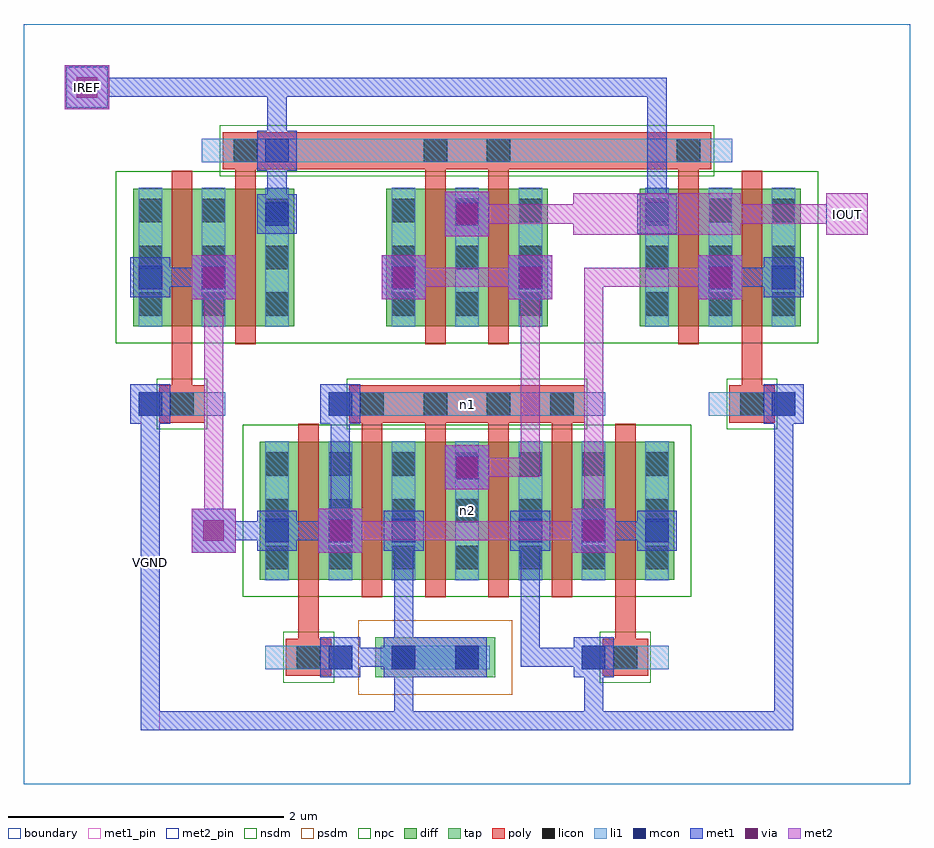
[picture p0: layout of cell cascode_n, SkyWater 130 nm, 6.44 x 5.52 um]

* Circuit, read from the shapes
.subckt cascode_n IOUT IREF VGND n1 n2
XM1 n1 VGND n1 VGND sky130_fd_pr__nfet_01v8 w=1 l=0.15 m=4
XM2 IREF IREF n1 VGND sky130_fd_pr__nfet_01v8 w=1 l=0.15 m=2
XM3 VGND n1 n1 VGND sky130_fd_pr__nfet_01v8 w=1 l=0.15 m=2
XM4 n2 n1 VGND VGND sky130_fd_pr__nfet_01v8 w=1 l=0.15 m=2
XM5 IOUT IREF n2 VGND sky130_fd_pr__nfet_01v8 w=1 l=0.15 m=2
.ends

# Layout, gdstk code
import gdstk
lib = gdstk.Library(unit=1e-6, precision=1e-09)
def R(c, l, rs):  # rectangles x0, y0, x1, y1
    for r in rs: c.add(gdstk.rectangle(r[:2], r[2:], *l))
def A(c, l, x, y, w, h, nx, ny, dx, dy):  # array of equal rectangles
    R(c, l, [(x+i*dx, y+j*dy, x+i*dx+w, y+j*dy+h) for i in range(nx) for j in range(ny)])
diff = (65, 20)
tap = (65, 44)
poly = (66, 20)
licon = (66, 44)
li1 = (67, 20)
mcon = (67, 44)
met1_pin = (68, 16)
met1 = (68, 20)
via = (68, 44)
met2_pin = (69, 16)
met2 = (69, 20)
nsdm = (93, 44)
psdm = (94, 20)
npc = (95, 20)
boundary = (235, 4)

cascode_n = lib.new_cell('cascode_n')
A(cascode_n, diff, 0.795, 3.325, 1.17, 1, 3, 1, 1.84, 0)
R(cascode_n, diff, [(1.715,1.485,4.725,2.485)])
R(cascode_n, tap, [(2.555,0.775,3.425,1.065)])
A(cascode_n, poly, 2.455, 1.355, 0.15, 1.405, 4, 1, 0.46, 0)
R(cascode_n, poly, [(1.905,0.785,2.235,1.055), (4.205,0.785,4.535,1.055), (1.995,0.92,2.145,2.615), (4.295,0.92,4.445,2.615), (0.985,2.625,1.315,2.895), (2.365,2.625,4.075,2.895), (5.125,2.625,5.455,2.895), (1.075,2.76,1.225,4.455), (5.215,2.76,5.365,4.455), (1.535,3.195,1.685,4.6), (2.915,3.195,3.065,4.6), (3.375,3.195,3.525,4.6), (4.755,3.195,4.905,4.6), (1.445,4.465,4.995,4.735)])
A(cascode_n, licon, 1.755, 1.56, 0.17, 0.17, 7, 3, 0.46, 0.34)
A(cascode_n, licon, 2.445, 2.675, 0.17, 0.17, 4, 1, 0.46, 0)
A(cascode_n, licon, 0.835, 3.4, 0.17, 0.17, 3, 3, 0.46, 0.34)
A(cascode_n, licon, 2.675, 3.4, 0.17, 0.17, 3, 3, 0.46, 0.34)
A(cascode_n, licon, 4.515, 3.4, 0.17, 0.17, 3, 3, 0.46, 0.34)
R(cascode_n, licon, [(1.985,0.835,2.155,1.005), (2.675,0.835,2.845,1.005), (3.135,0.835,3.305,1.005), (4.285,0.835,4.455,1.005), (1.065,2.675,1.235,2.845), (5.205,2.675,5.375,2.845), (1.525,4.515,1.695,4.685), (2.905,4.515,3.075,4.685), (3.365,4.515,3.535,4.685), (4.745,4.515,4.915,4.685)])
A(cascode_n, li1, 1.755, 1.48, 0.17, 1.01, 7, 1, 0.46, 0)
A(cascode_n, li1, 0.835, 3.32, 0.17, 1.01, 3, 1, 0.46, 0)
A(cascode_n, li1, 2.675, 3.32, 0.17, 1.01, 3, 1, 0.46, 0)
A(cascode_n, li1, 4.515, 3.32, 0.17, 1.01, 3, 1, 0.46, 0)
R(cascode_n, li1, [(1.755,0.835,2.385,1.005), (2.595,0.835,3.385,1.005), (4.055,0.835,4.685,1.005), (0.835,2.675,1.465,2.845), (2.215,2.675,4.225,2.845), (4.975,2.675,5.605,2.845), (1.295,4.515,5.145,4.685)])
A(cascode_n, mcon, 2.215, 0.835, 0.17, 0.17, 3, 1, 0.46, 0)
A(cascode_n, mcon, 1.755, 1.755, 0.17, 0.17, 3, 1, 0.46, 0)
A(cascode_n, mcon, 3.595, 1.755, 0.17, 0.17, 3, 1, 0.46, 0)
A(cascode_n, mcon, 1.755, 4.055, 0.17, 0.17, 3, 1, 1.38, 0)
R(cascode_n, mcon, [(4.055,0.835,4.225,1.005), (3.135,2.215,3.305,2.385), (0.835,2.675,1.005,2.845), (2.215,2.675,2.385,2.845), (5.435,2.675,5.605,2.845), (0.835,3.595,1.005,3.765), (1.295,3.595,1.465,3.765), (2.675,3.595,2.845,3.765), (3.595,3.595,3.765,3.765), (4.975,3.595,5.145,3.765), (5.435,3.595,5.605,3.765), (1.755,4.515,1.925,4.685)])
R(cascode_n, met1_pin, [(0.85,0.39,0.99,2.83)])
A(cascode_n, met1, 1.695, 1.695, 0.29, 0.29, 3, 1, 0.46, 0)
A(cascode_n, met1, 3.535, 1.695, 0.29, 0.29, 3, 1, 0.46, 0)
A(cascode_n, met1, 1.695, 3.995, 0.29, 0.29, 3, 1, 1.38, 0)
R(cascode_n, met1, [(0.85,0.39,0.99,2.83), (0.85,0.39,2.83,0.53), (2.69,0.39,2.83,0.99), (2.69,0.39,4.21,0.53), (4.07,0.39,4.21,0.99), (4.07,0.39,5.59,0.53), (5.45,0.39,5.59,2.83), (2.155,0.775,2.445,1.065), (2.615,0.775,3.365,1.065), (3.995,0.775,4.285,1.065), (2.23,0.85,2.83,0.99), (2.69,0.85,2.83,1.91), (2.69,0.85,2.83,0.99), (3.61,0.85,4.21,0.99), (3.61,0.85,3.75,1.91), (1.22,1.68,1.54,2), (2.14,1.68,2.46,2), (3.98,1.68,4.3,2), (1.31,1.77,1.91,1.91), (1.77,1.77,2.37,1.91), (2.23,1.77,2.37,2.83), (4.07,1.77,4.67,1.91), (3.06,2.14,3.38,2.46), (3.075,2.155,3.365,2.445), (0.775,2.615,1.065,2.905), (2.155,2.615,2.445,2.905), (5.375,2.615,5.665,2.905), (1.22,3.52,1.54,3.84), (2.6,3.52,2.92,3.84), (3.52,3.52,3.84,3.84), (4.9,3.52,5.22,3.84), (0.775,3.535,1.065,3.825), (1.235,3.535,1.525,3.825), (2.615,3.535,2.905,3.825), (3.535,3.535,3.825,3.825), (4.915,3.535,5.205,3.825), (5.375,3.535,5.665,3.825), (0.85,3.61,1.45,3.75), (4.99,3.61,5.59,3.75), (3.06,3.98,3.38,4.3), (1.77,4.07,1.91,4.67), (4.53,4.07,4.67,5.13), (1.695,4.455,1.985,4.745), (1.77,4.53,1.91,5.13), (0.3,4.9,0.62,5.22), (0.39,4.99,1.91,5.13), (1.77,4.99,4.67,5.13)])
R(cascode_n, via, [(1.305,1.765,1.455,1.915), (2.225,1.765,2.375,1.915), (4.065,1.765,4.215,1.915), (3.145,2.225,3.295,2.375), (1.305,3.605,1.455,3.755), (2.685,3.605,2.835,3.755), (3.605,3.605,3.755,3.755), (4.985,3.605,5.135,3.755), (3.145,4.065,3.295,4.215), (0.385,4.985,0.535,5.135)])
R(cascode_n, met2_pin, [(5.83,3.99,6.13,4.29), (0.31,4.91,0.61,5.21)])
R(cascode_n, met2, [(1.22,1.68,1.54,2), (2.14,1.68,2.46,2), (3.98,1.68,4.3,2), (1.31,1.77,1.45,3.75), (2.23,1.77,4.21,1.91), (4.07,1.77,4.21,3.75), (3.06,2.14,3.38,2.46), (3.15,2.23,3.75,2.37), (3.61,2.23,3.75,3.75), (1.22,3.52,1.54,3.84), (2.6,3.52,2.92,3.84), (3.52,3.52,3.84,3.84), (4.9,3.52,5.22,3.84), (2.69,3.61,3.75,3.75), (4.07,3.61,5.13,3.75), (3.06,3.98,3.38,4.3), (3.99,3.99,5.21,4.29), (5.83,3.99,6.13,4.29), (3.15,4.07,4.21,4.21), (4.99,4.07,6.05,4.21), (5.91,4.07,6.05,4.21), (0.3,4.9,0.62,5.22), (0.31,4.91,0.61,5.21), (0.39,4.99,0.53,5.13)])
R(cascode_n, nsdm, [(1.59,1.36,4.85,2.61), (0.67,3.2,5.77,4.45)])
R(cascode_n, psdm, [(2.43,0.65,3.55,1.19)])
R(cascode_n, npc, [(1.885,0.735,2.255,1.105), (4.185,0.735,4.555,1.105), (0.965,2.575,1.335,2.945), (2.345,2.575,4.095,2.945), (5.105,2.575,5.475,2.945), (1.425,4.415,5.015,4.785)])
R(cascode_n, boundary, [(0,0,6.44,5.52)])
cascode_n.add(gdstk.Label('n1', (3.22,2.76), layer=67, texttype=5))
cascode_n.add(gdstk.Label('n2', (3.22,1.985), layer=67, texttype=5))
cascode_n.add(gdstk.Label('VGND', (0.92,1.61), layer=68, texttype=5))
cascode_n.add(gdstk.Label('IREF', (0.46,5.06), layer=69, texttype=5))
cascode_n.add(gdstk.Label('IOUT', (5.98,4.14), layer=69, texttype=5))
cascode_n.add(gdstk.Label('VGND', (0.92,1.61), layer=68, texttype=16))
cascode_n.add(gdstk.Label('IREF', (0.46,5.06), layer=69, texttype=16))
cascode_n.add(gdstk.Label('IOUT', (5.98,4.14), layer=69, texttype=16))

lib.write_gds('cascode_n.gds')
